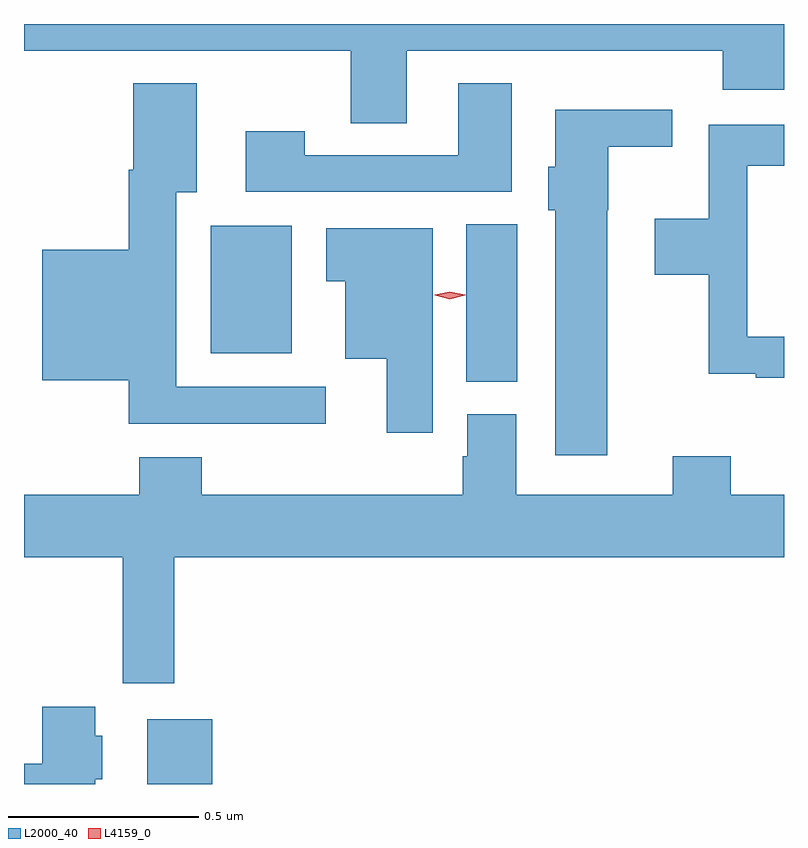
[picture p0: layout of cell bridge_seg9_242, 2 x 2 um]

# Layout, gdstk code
import gdstk
lib = gdstk.Library(unit=1e-6, precision=1e-09)
def R(c, l, rs):  # rectangles x0, y0, x1, y1
    for r in rs: c.add(gdstk.rectangle(r[:2], r[2:], *l))
def P(c, l, *ps):  # polygons
    for p in ps: c.add(gdstk.Polygon(p, *l))
L2000_40 = (2000, 40)
L4159_0 = (4159, 0)

bridge_seg9_242 = lib.new_cell('bridge_seg9_242')
R(bridge_seg9_242, L2000_40, [(364.754,1185.167,364.925,1185.337), (365.594,1186.225,365.728,1186.64), (364.922,1186.301,365.134,1186.636)])
P(bridge_seg9_242, L2000_40, [(365.437,1187.096),(366.269,1187.096),(366.269,1186.994),(366.43,1186.994),(366.43,1187.167),(364.43,1187.167),(364.43,1187.096),(365.29,1187.096),(365.29,1186.906),(365.437,1186.906)],
  [(365.224,1186.212),(364.831,1186.212),(364.831,1186.724),(364.885,1186.724),(364.885,1187.011),(364.718,1187.011),(364.718,1186.784),(364.706,1186.784),(364.706,1186.573),(364.478,1186.573),(364.478,1186.229),(364.706,1186.229),(364.706,1186.115),(365.224,1186.115)],
  [(365.713,1187.011),(365.573,1187.011),(365.573,1186.821),(365.169,1186.821),(365.169,1186.885),(365.013,1186.885),(365.013,1186.725),(365.713,1186.725)],
  [(365.965,1186.677),(365.968,1186.677),(365.968,1186.844),(366.136,1186.844),(366.136,1186.942),(365.828,1186.942),(365.828,1186.791),(365.81,1186.791),(365.81,1186.677),(365.828,1186.677),(365.828,1186.032),(365.965,1186.032)],
  [(366.43,1186.344),(366.333,1186.344),(366.333,1186.794),(366.43,1186.794),(366.43,1186.902),(366.232,1186.902),(366.232,1186.654),(366.09,1186.654),(366.09,1186.507),(366.232,1186.507),(366.232,1186.247),(366.356,1186.247),(366.356,1186.236),(366.43,1186.236)],
  [(365.506,1186.63),(365.225,1186.63),(365.225,1186.49),(365.276,1186.49),(365.276,1186.286),(365.384,1186.286),(365.384,1186.092),(365.506,1186.092)],
  [(366.43,1185.928),(366.29,1185.928),(366.29,1186.03),(366.137,1186.03),(366.137,1185.928),(365.725,1185.928),(365.725,1186.14),(365.597,1186.14),(365.597,1186.029),(365.585,1186.029),(365.585,1185.928),(364.898,1185.928),(364.898,1186.027),(364.733,1186.027),(364.733,1185.928),(364.43,1185.928),(364.43,1185.764),(364.69,1185.764),(364.69,1185.432),(364.826,1185.432),(364.826,1185.764),(366.43,1185.764)],
  [(364.618,1185.18),(364.636,1185.18),(364.636,1185.294),(364.618,1185.294),(364.618,1185.37),(364.478,1185.37),(364.478,1185.22),(364.43,1185.22),(364.43,1185.167),(364.618,1185.167)])
P(bridge_seg9_242, L4159_0, [(365.551,1186.443),(365.511,1186.453),(365.511,1186.453),(365.511,1186.454),(365.551,1186.463),(365.591,1186.454),(365.591,1186.453),(365.591,1186.453)])

lib.write_gds('bridge_seg9_242.gds')
